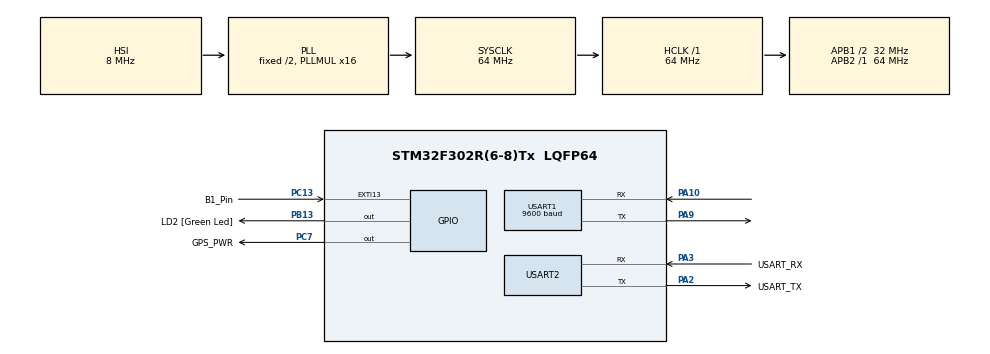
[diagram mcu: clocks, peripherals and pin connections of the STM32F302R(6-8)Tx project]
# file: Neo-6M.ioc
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Mcu.Family=STM32F3
Mcu.Name=STM32F302R(6-8)Tx
Mcu.Package=LQFP64
NVIC.EXTI15_10_IRQn=true\:0\:0\:false\:false\:true\:true\:true\:true
NVIC.PriorityGroup=NVIC_PRIORITYGROUP_0
NVIC.RTC_WKUP_IRQn=true\:0\:0\:false\:false\:true\:true\:true\:true
NVIC.USART1_IRQn=true\:0\:0\:false\:false\:true\:true\:true\:true
PA10.Mode=Asynchronous
PA10.Signal=USART1_RX
PA13.GPIO_Label=TMS
PA13.Mode=Serial_Wire
PA13.Signal=SYS_JTMS-SWDIO
PA14.GPIO_Label=TCK
PA14.Mode=Serial_Wire
PA14.Signal=SYS_JTCK-SWCLK
PA2.GPIO_Label=USART_TX
PA2.GPIO_Mode=GPIO_MODE_AF_PP
PA2.GPIO_PuPd=GPIO_NOPULL
PA2.GPIO_Speed=GPIO_SPEED_FREQ_LOW
PA2.Mode=Asynchronous
PA2.Signal=USART2_TX
PA3.GPIO_Label=USART_RX
PA3.GPIO_Mode=GPIO_MODE_AF_PP
PA3.GPIO_PuPd=GPIO_NOPULL
PA3.GPIO_Speed=GPIO_SPEED_FREQ_LOW
PA3.Mode=Asynchronous
PA3.Signal=USART2_RX
PA9.Mode=Asynchronous
PA9.Signal=USART1_TX
PB13.GPIO_Label=LD2 [Green Led]
PB13.Signal=GPIO_Output
PB3.GPIO_Label=SWO
PB3.Mode=Trace_Asynchronous_SW
PB3.Signal=SYS_JTDO-TRACESWO
PC13.GPIO_Label=B1_Pin
PC13.Signal=GPXTI13
PC14\ -\ OSC32_IN.Mode=LSE-External-Oscillator
PC14\ -\ OSC32_IN.Signal=RCC_OSC32_IN
PC15\ -\ OSC32_OUT.Mode=LSE-External-Oscillator
PC15\ -\ OSC32_OUT.Signal=RCC_OSC32_OUT
PC7.GPIO_Label=GPS_PWR
PC7.Signal=GPIO_Output
PF0-OSC_IN.Mode=HSE-External-Clock-Source
PF0-OSC_IN.Signal=RCC_OSC_IN
PF1-OSC_OUT.Signal=RCC_OSC_OUT
ProjectManager.HeapSize=0x200
ProjectManager.StackSize=0x400
ProjectManager.TargetToolchain=STM32CubeIDE
RCC.AHBFreq_Value=64000000
RCC.APB1CLKDivider=RCC_HCLK_DIV2
RCC.APB1Freq_Value=32000000
RCC.APB1TimFreq_Value=64000000
RCC.APB2Freq_Value=64000000
RCC.APB2TimFreq_Value=64000000
RCC.CortexFreq_Value=64000000
RCC.HCLKFreq_Value=64000000
RCC.HSE_VALUE=8000000
RCC.HSI_VALUE=8000000
RCC.PLLM=8
RCC.PLLMUL=RCC_PLL_MUL16
RCC.PLLN=336
RCC.PLLP=RCC_PLLP_DIV4
RCC.PLLQ=7
RCC.RCC_PLLsource_Clock_Source_FROM_HSE=RCC_HSE_PREDIV_DIV2
RCC.RTCClockSelection=RCC_RTCCLKSOURCE_LSE
RCC.SYSCLKFreq_VALUE=64000000
RCC.SYSCLKSourceVirtual=RCC_SYSCLKSOURCE_PLLCLK
RCC.USBFreq_Value=64000000
RTC.WakeUpClock-WakeUp=RTC_WAKEUPCLOCK_RTCCLK_DIV16
USART1.BaudRate=9600
USART1.VirtualMode-Asynchronous=VM_ASYNC
USART2.VirtualMode-Asynchronous=VM_ASYNC
VP_RTC_VS_RTC_Activate.Mode=RTC_Enabled
VP_RTC_VS_RTC_WakeUp_intern.Mode=WakeUp
board=NUCLEO-F302R8

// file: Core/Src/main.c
/* USER CODE BEGIN Header */
/**
  ****************************************************************************
  * @file           : main.c
  * @brief          : Main program body
  ****************************************************************************
  * @attention
  *
  * Copyright (c) 2023 STMicroelectronics.
  * All rights reserved.
  *
  * This software is licensed under terms that can be found in the LICENSE file
  * in the root directory of this software component.
  * If no LICENSE file comes with this software, it is provided AS-IS.
  *
  ****************************************************************************
  */
/* USER CODE END Header */
#include "main.h"
#include <stdio.h>
#include <string.h>
#include <stdlib.h>

/* USER CODE BEGIN PTD */
	HAL_StatusTypeDef ret = HAL_OK; // This is for use in a Clear buffer function, to check if Uart is ready.
	char cmd[100] = "command \r\n";
	char TermMsg[100] = "Message to terminal \r\n";
	uint8_t RecievedData[700] = {0};
	uint8_t c[2] = {0};

	float WakeupTimebase = 16.0 / 32.0; 	// or (float)16 / (float)32
	float SleepTimeSeconds = 60.0; 		// Here the sleep time is defined in seconds
	float WakeUpCounter; 					// The counter is defined, but cannot be calculated before main()
	char WakeUpCounterHex[10]; 			// The hex string for the counter is defined
	uint32_t WakeUpCounterUint;

	#define MAX_MSG_LENGTH 100

	typedef struct {
		float time;
		float latitude;
		char latitudeArea;
		float longitude;
		char longitudeArea;
		int fix;
		char numsat;
		int accuracy;
		int altitude;
	} GPSData;

	char buffer[50];
	int len;

	int GoToSleep = 0;
	int DataReadyForTx = 0;
	int i = 0;
	char outputString[100];

/* USER CODE END PTD */

RTC_HandleTypeDef hrtc;

UART_HandleTypeDef huart1;
UART_HandleTypeDef huart2;

void SystemClock_Config(void);
static void MX_GPIO_Init(void);
static void MX_USART1_UART_Init(void);
static void MX_USART2_UART_Init(void);
static void MX_RTC_Init(void);
/* USER CODE BEGIN PFP */
void parseNMEA(char* msg, GPSData* data);
void HAL_UART_RxCpltCallback(UART_HandleTypeDef *huart);
/* USER CODE END PFP */

int main(void)
{
  /* USER CODE BEGIN 1 */
	WakeUpCounter = SleepTimeSeconds / WakeupTimebase; 	// Wakeup counter is calculated now
	WakeUpCounterUint = (uint32_t)WakeUpCounter; // The Wakeup counter is converted to hex

  /* USER CODE END 1 */

  /* MCU Configuration--------------------------------------------------------*/

  /* Reset of all peripherals, Initializes the Flash interface and the Systick. */
  HAL_Init();

  /* Configure the system clock */
  SystemClock_Config();

  /* USER CODE BEGIN SysInit */
  void ClearBuffer(void);

  /* USER CODE END SysInit */

  /* Initialize all configured peripherals */
  MX_GPIO_Init();
  MX_USART1_UART_Init();
  MX_USART2_UART_Init();
  MX_RTC_Init();
  /* USER CODE BEGIN 2 */
  GPSData gpsData; // Laver et instance af vores struct

// When waking up
  if (__HAL_PWR_GET_FLAG(PWR_FLAG_SB) != RESET)
    {
  	  __HAL_PWR_CLEAR_FLAG(PWR_FLAG_SB);  // clear the flag

  	  /** display  the string **/
  	  char *str = "Wakeup from the STANDBY MODE\n\n";
  	  HAL_UART_Transmit(&huart2, (uint8_t *)str, strlen (str), HAL_MAX_DELAY);

  	  /** Blink the LED **/
  	  for (int i=0; i<20; i++)
  	  {
  		  HAL_GPIO_TogglePin(LD2_GPIO_Port, LD2_Pin);
  		  HAL_Delay(200);
  	  }

  	  /** Disable the WWAKEUP PIN **/
  	  HAL_PWR_DisableWakeUpPin(PWR_WAKEUP_PIN1);  // disable PA0

  	  /** Deactivate the RTC wakeup  **/
  	  HAL_RTCEx_DeactivateWakeUpTimer(&hrtc);
    }

  ClearBuffer();
  HAL_UART_Receive_IT(&huart1, RecievedData, 700);
  /* USER CODE END 2 */

  /* Infinite loop */
  while (1)
  {

    /* USER CODE BEGIN 3 */

	  //HAL_Delay(3000);
	  //HAL_UART_Transmit(&huart2, (uint8_t*)". ", 2, 10);
	  //ClearBuffer();
	  //HAL_UART_Receive_IT(&huart1, RecievedData, 700);

	  if (gpsData.fix){
		  // if fix = 1, har vi en position, og vi kan sende vores position
		  // Power down af GPS?
		  char *str = "We got a fix! \r\n";
		  HAL_UART_Transmit(&huart2, (uint8_t *)str, strlen (str), HAL_MAX_DELAY);
		  //sluk GPS (GPIO)
		  //connect til lora
		  //sende via lora (converter fra struct string til HEX)
		  //wait for ok
		  //gotosleep = 1
	  }

	  if (GoToSleep) {
		  EnterStandbyMode();
		  GoToSleep = 0;
	  }

  }
  /* USER CODE END 3 */
}

void SystemClock_Config(void)
{
  RCC_OscInitTypeDef RCC_OscInitStruct = {0};
  RCC_ClkInitTypeDef RCC_ClkInitStruct = {0};
  RCC_PeriphCLKInitTypeDef PeriphClkInit = {0};

  /** Configure LSE Drive Capability
  */
  HAL_PWR_EnableBkUpAccess();
  __HAL_RCC_LSEDRIVE_CONFIG(RCC_LSEDRIVE_LOW);

  /** Initializes the RCC Oscillators according to the specified parameters
  * in the RCC_OscInitTypeDef structure.
  */
  RCC_OscInitStruct.OscillatorType = RCC_OSCILLATORTYPE_HSI|RCC_OSCILLATORTYPE_LSE;
  RCC_OscInitStruct.LSEState = RCC_LSE_ON;
  RCC_OscInitStruct.HSIState = RCC_HSI_ON;
  RCC_OscInitStruct.HSICalibrationValue = RCC_HSICALIBRATION_DEFAULT;
  RCC_OscInitStruct.PLL.PLLState = RCC_PLL_ON;
  RCC_OscInitStruct.PLL.PLLSource = RCC_PLLSOURCE_HSI;
  RCC_OscInitStruct.PLL.PLLMUL = RCC_PLL_MUL16;
  if (HAL_RCC_OscConfig(&RCC_OscInitStruct) != HAL_OK)
  {
    Error_Handler();
  }

  /** Initializes the CPU, AHB and APB buses clocks
  */
  RCC_ClkInitStruct.ClockType = RCC_CLOCKTYPE_HCLK|RCC_CLOCKTYPE_SYSCLK
                              |RCC_CLOCKTYPE_PCLK1|RCC_CLOCKTYPE_PCLK2;
  RCC_ClkInitStruct.SYSCLKSource = RCC_SYSCLKSOURCE_PLLCLK;
  RCC_ClkInitStruct.AHBCLKDivider = RCC_SYSCLK_DIV1;
  RCC_ClkInitStruct.APB1CLKDivider = RCC_HCLK_DIV2;
  RCC_ClkInitStruct.APB2CLKDivider = RCC_HCLK_DIV1;

  if (HAL_RCC_ClockConfig(&RCC_ClkInitStruct, FLASH_LATENCY_2) != HAL_OK)
  {
    Error_Handler();
  }
  PeriphClkInit.PeriphClockSelection = RCC_PERIPHCLK_USART1|RCC_PERIPHCLK_RTC;
  PeriphClkInit.Usart1ClockSelection = RCC_USART1CLKSOURCE_PCLK1;
  PeriphClkInit.RTCClockSelection = RCC_RTCCLKSOURCE_LSE;
  if (HAL_RCCEx_PeriphCLKConfig(&PeriphClkInit) != HAL_OK)
  {
    Error_Handler();
  }
}

static void MX_RTC_Init(void)
{

  /** Initialize RTC Only
  */
  hrtc.Instance = RTC;
  hrtc.Init.HourFormat = RTC_HOURFORMAT_24;
  hrtc.Init.AsynchPrediv = 127;
  hrtc.Init.SynchPrediv = 255;
  hrtc.Init.OutPut = RTC_OUTPUT_DISABLE;
  hrtc.Init.OutPutPolarity = RTC_OUTPUT_POLARITY_HIGH;
  hrtc.Init.OutPutType = RTC_OUTPUT_TYPE_OPENDRAIN;
  if (HAL_RTC_Init(&hrtc) != HAL_OK)
  {
    Error_Handler();
  }

  /** Enable the WakeUp
  */
  if (HAL_RTCEx_SetWakeUpTimer_IT(&hrtc, 0, RTC_WAKEUPCLOCK_RTCCLK_DIV16) != HAL_OK)
  {
    Error_Handler();
  }

}

static void MX_USART1_UART_Init(void)
{

  huart1.Instance = USART1;
  huart1.Init.BaudRate = 9600;
  huart1.Init.WordLength = UART_WORDLENGTH_8B;
  huart1.Init.StopBits = UART_STOPBITS_1;
  huart1.Init.Parity = UART_PARITY_NONE;
  huart1.Init.Mode = UART_MODE_TX_RX;
  huart1.Init.HwFlowCtl = UART_HWCONTROL_NONE;
  huart1.Init.OverSampling = UART_OVERSAMPLING_16;
  huart1.Init.OneBitSampling = UART_ONE_BIT_SAMPLE_DISABLE;
  huart1.AdvancedInit.AdvFeatureInit = UART_ADVFEATURE_NO_INIT;
  if (HAL_UART_Init(&huart1) != HAL_OK)
  {
    Error_Handler();
  }

}

static void MX_USART2_UART_Init(void)
{

  huart2.Instance = USART2;
  huart2.Init.BaudRate = 38400;
  huart2.Init.WordLength = UART_WORDLENGTH_8B;
  huart2.Init.StopBits = UART_STOPBITS_1;
  huart2.Init.Parity = UART_PARITY_NONE;
  huart2.Init.Mode = UART_MODE_TX_RX;
  huart2.Init.HwFlowCtl = UART_HWCONTROL_NONE;
  huart2.Init.OverSampling = UART_OVERSAMPLING_16;
  huart2.Init.OneBitSampling = UART_ONE_BIT_SAMPLE_DISABLE;
  huart2.AdvancedInit.AdvFeatureInit = UART_ADVFEATURE_NO_INIT;
  if (HAL_UART_Init(&huart2) != HAL_OK)
  {
    Error_Handler();
  }

}

static void MX_GPIO_Init(void)
{
  GPIO_InitTypeDef GPIO_InitStruct = {0};

  /* GPIO Ports Clock Enable */
  __HAL_RCC_GPIOC_CLK_ENABLE();
  __HAL_RCC_GPIOF_CLK_ENABLE();
  __HAL_RCC_GPIOA_CLK_ENABLE();
  __HAL_RCC_GPIOB_CLK_ENABLE();

  /*Configure GPIO pin Output Level */
  HAL_GPIO_WritePin(LD2_GPIO_Port, LD2_Pin, GPIO_PIN_RESET);

  /*Configure GPIO pin : B1_Pin_Pin */
  GPIO_InitStruct.Pin = B1_Pin_Pin;
  GPIO_InitStruct.Mode = GPIO_MODE_IT_RISING;
  GPIO_InitStruct.Pull = GPIO_NOPULL;
  HAL_GPIO_Init(B1_Pin_GPIO_Port, &GPIO_InitStruct);

  /*Configure GPIO pin : LD2_Pin */
  GPIO_InitStruct.Pin = LD2_Pin;
  GPIO_InitStruct.Mode = GPIO_MODE_OUTPUT_PP;
  GPIO_InitStruct.Pull = GPIO_NOPULL;
  GPIO_InitStruct.Speed = GPIO_SPEED_FREQ_LOW;
  HAL_GPIO_Init(LD2_GPIO_Port, &GPIO_InitStruct);

  /* EXTI interrupt init*/
  HAL_NVIC_SetPriority(EXTI15_10_IRQn, 0, 0);
  HAL_NVIC_EnableIRQ(EXTI15_10_IRQn);

}

void parseNMEA(char* msg, GPSData* data) {
    const char* gpgga = "$GPGGA";
    char* gpggaPtr = strstr(msg, gpgga);

    if (gpggaPtr != NULL) {
        gpggaPtr += strlen(gpgga);
        char* token;
        token = strtok(gpggaPtr, ",");
        int count = 0;

        while (token != NULL) {
            count++;

            switch (count) {
                case 1:
                    // Process time value
                    data->time = atof(token);
                    break;
                case 2:
                    // Process latitude value
                    data->latitude = atof(token);
                    break;
                case 3:
                    // Process latitude area value
                    data->latitudeArea = token[0];
                    break;
                case 4:
                    // Process longitude value
                    data->longitude = atof(token);
                    break;
                case 5:
                    // Process longitude area value
                    data->longitudeArea = token[0];
                    break;
                case 6:
                    // Process fix value
                    data->fix = atoi(token);
                    break;
                case 7:
					// Process fix value
					data->numsat = token[0];
					break;
                case 8:
					// Process fix value
					data->accuracy = atoi(token);
					break;
                case 9:
					// Process fix value
					data->altitude = atoi(token);
					break;
            }

            token = strtok(NULL, ",");
        }
    } else {
        char buffer[100];
        int len = snprintf(buffer, sizeof(buffer), "Unknown NMEA message\n");
        HAL_UART_Transmit(&huart2, (uint8_t*)buffer, len, HAL_MAX_DELAY);
    }

}

/* USER CODE BEGIN 4 */
void HAL_UART_RxCpltCallback(UART_HandleTypeDef *huart)
	{
	// This has been soft defined in HAL, and can be redefined here.
	HAL_UART_Receive_IT(&huart1, RecievedData, 700);
	//HAL_UART_Receive_IT(&huart1, RecievedData, 700);
	HAL_UART_Transmit(&huart2, (uint8_t*)"Interrupt received data: ", 25, 100);
	HAL_UART_Transmit(&huart2, RecievedData,  strlen(RecievedData), 100);
	HAL_UART_Transmit(&huart2, (uint8_t*)"\r\n\r\n", 2, 100);

	GPSData gpsData; // Laver et instance af vores struct
	parseNMEA(RecievedData, &gpsData);
	// Access the parsed values

	// Time
	len = snprintf(buffer, sizeof(buffer), "Time: %.2f\r\n", gpsData.altitude);
	HAL_UART_Transmit(&huart2, (uint8_t*)buffer, len, HAL_MAX_DELAY);

	// Latitude
	len = snprintf(buffer, sizeof(buffer), "Latitude: %.5f\r\n", gpsData.latitude);
	HAL_UART_Transmit(&huart2, (uint8_t*)buffer, len, HAL_MAX_DELAY);

	// Latitude Area
	len = snprintf(buffer, sizeof(buffer), "Latitude Area: %c\r\n", gpsData.latitudeArea);
	HAL_UART_Transmit(&huart2, (uint8_t*)buffer, len, HAL_MAX_DELAY);

	// Longitude
	len = snprintf(buffer, sizeof(buffer), "Longitude: %.5f\r\n", gpsData.longitude);
	HAL_UART_Transmit(&huart2, (uint8_t*)buffer, len, HAL_MAX_DELAY);

	// Longitude Area
	len = snprintf(buffer, sizeof(buffer), "Longitude Area: %c\r\n", gpsData.longitudeArea);
	HAL_UART_Transmit(&huart2, (uint8_t*)buffer, len, HAL_MAX_DELAY);

	// Fix
	len = snprintf(buffer, sizeof(buffer), "Fix: %d\r\n", gpsData.fix);
	HAL_UART_Transmit(&huart2, (uint8_t*)buffer, len, HAL_MAX_DELAY);

	// numbers of satellites
	len = snprintf(buffer, sizeof(buffer), "Numsat: %d\r\n", gpsData.altitude);
	HAL_UART_Transmit(&huart2, (uint8_t*)buffer, len, HAL_MAX_DELAY);

	// accurcy
	len = snprintf(buffer, sizeof(buffer), "Accurcy: %.2f\r\n", gpsData.altitude);
	HAL_UART_Transmit(&huart2, (uint8_t*)buffer, len, HAL_MAX_DELAY);

	// altitude
	len = snprintf(buffer, sizeof(buffer), "Altitude: %.2f\r\n", gpsData.altitude);
	HAL_UART_Transmit(&huart2, (uint8_t*)buffer, len, HAL_MAX_DELAY);

	memset(RecievedData,0, 30);
	GoToSleep = 1;
	//HAL_UART_Receive_IT (&huart1, RecievedData, 700);		//re-starting interrupt
	}

void ClearBuffer(void){
	// Clear RN2483 UART buffer before main code execution.
	// HAL_TIMEOUT is received when HAL_UART_Receive is  not done receiving.
	// huart->TxXferCount will then contain the value of bytes left to be received.
	// If size of received data is less than 1 byte 😊 no data), HAL_TIMEOUT will be returned
	ret = HAL_OK;
	while (ret != HAL_TIMEOUT) ret = HAL_UART_Receive(&huart1, c, 1, 100);	//RN2483 serial
}

void EnterStandbyMode(void) {

    /** Now enter the standby mode **/
     /* Clear the WU FLAG */
    __HAL_PWR_CLEAR_FLAG(PWR_FLAG_WU);

     /* clear the RTC Wake UP (WU) flag */
    __HAL_RTC_WAKEUPTIMER_CLEAR_FLAG(&hrtc, RTC_FLAG_WUTF);

     /* Display the string */
    char *str = "About to enter the STANDBY MODE\n\n";
    HAL_UART_Transmit(&huart2, (uint8_t *)str, strlen (str), HAL_MAX_DELAY);

     /* Blink the LED */
    for (int i=0; i<5; i++)
    {
  	  HAL_GPIO_TogglePin(LD2_GPIO_Port, LD2_Pin);
  	  HAL_Delay(750);
    }

     /* Enable the WAKEUP PIN */
    //HAL_PWR_EnableWakeUpPin(PWR_WAKEUP_PIN1);

    if (HAL_RTCEx_SetWakeUpTimer_IT(&hrtc, WakeUpCounterUint, RTC_WAKEUPCLOCK_RTCCLK_DIV16) != HAL_OK)
    {
      Error_Handler();
    }

     /* one last string to be sure */
    char *str2 = "STANDBY MODE is ON\n\n";
    HAL_UART_Transmit(&huart2, (uint8_t *)str2, strlen (str2), HAL_MAX_DELAY);

     /* Finally enter the standby mode */
    HAL_PWR_EnterSTANDBYMode();

}

void SendCommand(void)
{
	HAL_Delay(20);
	ClearBuffer();
	memset(RecievedData,0, 30);
	memset(cmd, 0, 100);
	HAL_UART_Transmit(&huart2, (uint8_t*)"Command: ", 10, 100);
	char cmd[100] = "$GPGLL\r\n";	// Get and print firmware version
	HAL_UART_Transmit(&huart1, (uint8_t*)cmd, strlen(cmd), 100);
	HAL_UART_Receive(&huart1, RecievedData, 200, 2000);
	HAL_UART_Transmit(&huart2, RecievedData, strlen(RecievedData), 100);
	HAL_UART_Transmit(&huart2, (uint8_t*)"\r\n\r\n", 2, 100);
}
void GetSatInfo(void)
{
	HAL_Delay(20);
	ClearBuffer();
	memset(RecievedData,0, 30);
	memset(cmd, 0, 100);
	HAL_UART_Transmit(&huart2, (uint8_t*)"Command: ", 10, 100);
	char cmd[100] = "$PSTDUMPALMANAC\r\n";	// Get and print firmware version
	HAL_UART_Transmit(&huart1, (uint8_t*)cmd, strlen(cmd), 100);
	HAL_UART_Receive(&huart1, RecievedData, 200, 2000);
	HAL_UART_Transmit(&huart2, RecievedData, strlen(RecievedData), 100);
	HAL_UART_Transmit(&huart2, (uint8_t*)"\r\n\r\n", 2, 100);
}
/* USER CODE END 4 */

void Error_Handler(void)
{
  __disable_irq();
  while (1)
  {
  }
}
